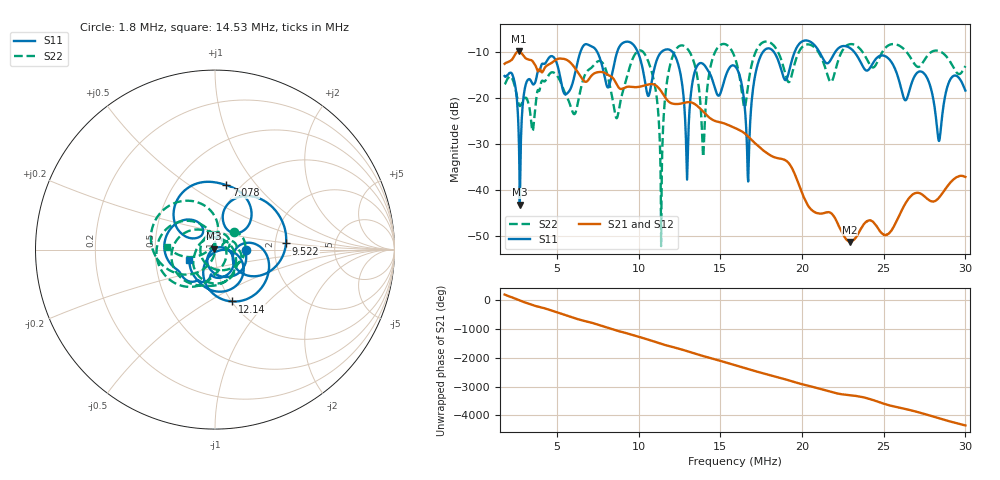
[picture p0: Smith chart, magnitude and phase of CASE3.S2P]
!Agilent Technologies,E5061B,MY49101568,A.02.00
!Date: Wed Mar 01 13:15:27 2023
!Data & Calibration Information:
!Freq	S11:SOLT2(OFF)	S21:SOLT2(OFF)	S12:SOLT2(OFF)	S22:SOLT2(OFF)
# Hz S dB R 50
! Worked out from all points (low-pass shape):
!   1155 points, 1.8 MHz to 30 MHz, reference 50 ohm
!   highest |S21| = -9.93 dB at 2.68 MHz (marker M1); lowest = -51.3 dB at 22.91 MHz (marker M2)
!   |S21| within 3 dB of the highest: start of sweep to 3.677 MHz; 4.421 MHz to 5.973 MHz (1.551 MHz wide, 29.9 % of centre)
!   lowest |S11| = -43.2 dB at 2.729 MHz (marker M3), VSWR 1.01, Z = 49.5 + j0.428 ohm
!   |S11| at or under -10 dB: start of sweep to 6.445 MHz; 12.06 MHz to 17.62 MHz (5.557 MHz wide, 37.4 % of centre); 23.19 MHz to end of sweep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
!   |S22| runs from -52.2 to -7.8 dB; largest |S21 - S12| = 0.0039
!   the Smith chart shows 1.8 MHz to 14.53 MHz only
!   S11 on the Smith chart (normalised r, x): 1.8 MHz: 1.42, -0.01; 7.078 MHz: 0.86, +0.71; 9.522 MHz: 2.30, +0.19; 12.14 MHz: 1.01, -0.64; 14.53 MHz: 0.75, -0.09
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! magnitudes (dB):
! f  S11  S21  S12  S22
! 1.8 MHz  -15.3  -12.6  -12.6  -17.0
! 2.68 MHz  -30.4  -9.9  -9.9  -21.5
! 2.729 MHz  -43.2  -10.0  -10.0  -21.8
! 3.193 MHz  -16.2  -11.6  -11.6  -20.5
! 6.516 MHz  -9.4  -15.7  -15.6  -17.2
! 7.078 MHz  -8.8  -15.4  -15.2  -13.6
! 8.667 MHz  -10.3  -17.1  -17.1  -24.4
! 9.522 MHz  -8.0  -17.6  -17.6  -12.6
! 11.21 MHz  -11.0  -17.8  -17.8  -23.5
! 11.4 MHz  -10.0  -18.7  -18.7  -41.2
! 12.14 MHz  -10.3  -21.3  -21.4  -10.5
! 12.97 MHz  -37.8  -21.0  -21.0  -9.3
! 13.95 MHz  -12.6  -23.0  -23.0  -32.8
! 14.53 MHz  -16.3  -24.8  -24.8  -11.5
! 15.9 MHz  -13.1  -26.6  -26.6  -11.3
! 16.71 MHz  -38.2  -28.4  -28.4  -17.1
! 17.56 MHz  -10.3  -31.2  -31.3  -8.1
! 20.62 MHz  -8.1  -44.4  -44.3  -8.7
! 22.91 MHz  -9.1  -51.3  -51.2  -8.4
! 25.31 MHz  -11.5  -49.5  -49.4  -8.6
! 28.39 MHz  -29.4  -41.6  -41.6  -9.9
! 30 MHz  -18.4  -37.2  -37.2  -13.1
